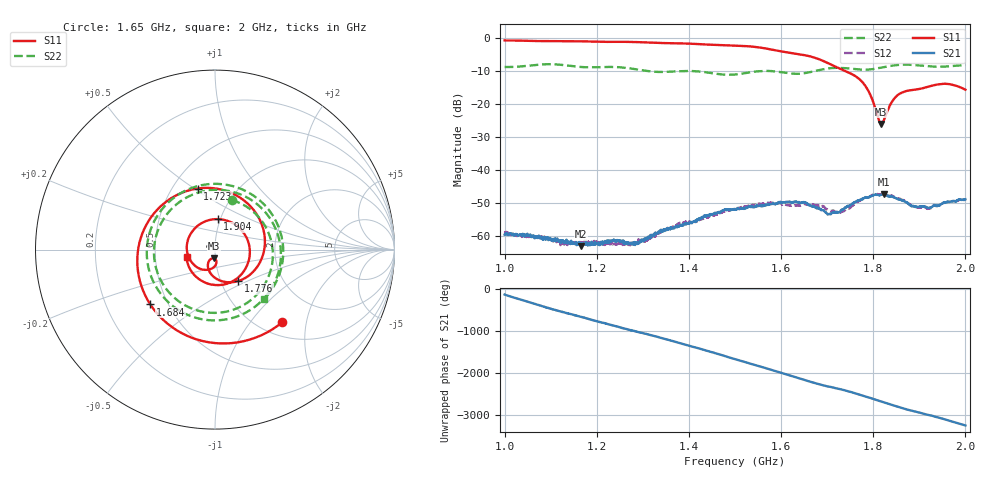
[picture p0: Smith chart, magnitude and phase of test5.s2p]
!Keysight Technologies N9923A: A.08.15
!Date: Wednesday, 14 February 2024 18:12:46
!Timezone: (GMT-05:00) Eastern Time (US & Canada)
!Model: N9923A
!Serial: MY52412730
!GPS Latitude:
!GPS Longitude:
!GPS TimeStamp: 0001-01-01 00:00:00Z
!GPS Seconds Since Last Read: 0
!CHECKSUM:0092642649
!Correction: S11(ON Q)S21(ON Q)S12(ON Q)S22(ON Q)
!S2P File: Measurements:S11,S21,S12,S22:
# Hz S DB R 50
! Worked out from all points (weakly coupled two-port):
!   1601 points, 1 GHz to 2 GHz, reference 50 ohm
!   highest |S21| = -47.45 dB at 1.824 GHz (marker M1); lowest = -63.2 dB at 1.166 GHz (marker M2)
!   lowest |S11| = -26.1 dB at 1.817 GHz (marker M3), VSWR 1.10, Z = 49 - j4.81 ohm
!   |S11| at or under -10 dB: 1.739 GHz to end of sweep
!   |S22| runs from -11.2 to -7.9 dB; largest |S21 - S12| = 0.00049
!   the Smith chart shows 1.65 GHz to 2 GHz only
!   S11 on the Smith chart (normalised r, x): 1.65 GHz: 1.25, -1.46; 1.684 GHz: 0.40, -0.31; 1.723 GHz: 0.66, +0.52; 1.776 GHz: 1.21, -0.44; 1.904 GHz: 0.97, +0.34; 2 GHz: 0.72, -0.06
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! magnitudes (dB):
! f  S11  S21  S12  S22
! 1 GHz  -0.7  -59.7  -59.0  -8.8
! 1.126 GHz  -0.9  -61.5  -62.5  -8.2
! 1.166 GHz  -1.0  -63.2  -61.9  -8.8
! 1.167 GHz  -1.0  -62.7  -62.0  -8.8
! 1.282 GHz  -1.2  -61.9  -62.3  -9.4
! 1.334 GHz  -1.5  -58.8  -59.1  -10.3
! 1.5 GHz  -2.3  -51.9  -51.9  -11.1
! 1.575 GHz  -3.4  -50.6  -50.1  -10.0
! 1.65 GHz  -5.2  -49.8  -50.3  -10.7
! 1.667 GHz  -5.7  -51.1  -50.7  -10.2
! 1.684 GHz  -6.5  -51.9  -50.8  -9.7
! 1.703 GHz  -7.7  -53.5  -52.2  -9.2
! 1.723 GHz  -9.0  -52.8  -53.0  -9.0
! 1.776 GHz  -13.3  -48.8  -49.0  -9.6
! 1.792 GHz  -16.9  -48.1  -48.1  -9.5
! 1.817 GHz  -26.1  -47.6  -47.4  -9.0
! 1.824 GHz  -24.7  -47.4  -47.2  -8.8
! 1.834 GHz  -21.2  -48.1  -47.9  -8.6
! 1.857 GHz  -16.9  -48.9  -48.8  -8.1
! 1.904 GHz  -15.4  -51.2  -51.4  -8.4
! 1.957 GHz  -13.9  -49.9  -49.8  -8.7
! 2 GHz  -15.7  -48.9  -48.9  -8.2
